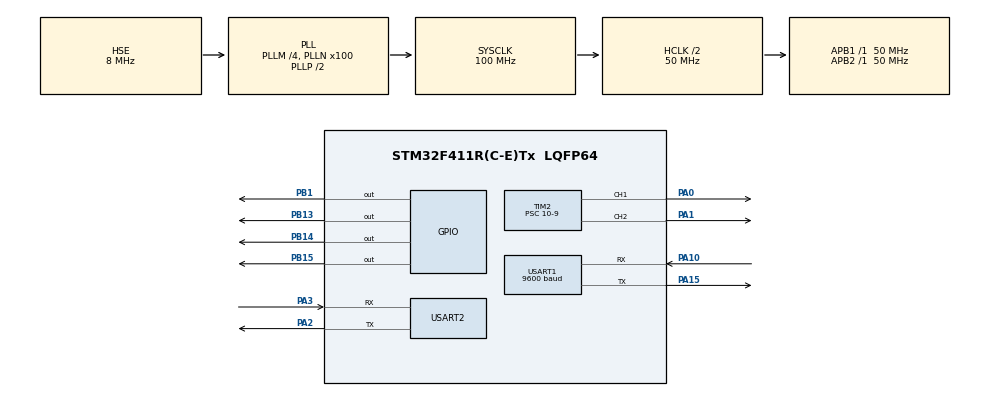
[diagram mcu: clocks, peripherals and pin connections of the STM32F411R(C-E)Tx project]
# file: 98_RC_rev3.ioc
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Mcu.Family=STM32F4
Mcu.Name=STM32F411R(C-E)Tx
Mcu.Package=LQFP64
NVIC.PriorityGroup=NVIC_PRIORITYGROUP_4
NVIC.RCC_IRQn=true\:0\:0\:false\:false\:true\:true\:false\:true
NVIC.TIM2_IRQn=true\:0\:0\:false\:false\:true\:true\:true\:true
NVIC.USART1_IRQn=true\:0\:0\:false\:false\:true\:true\:true\:true
NVIC.USART2_IRQn=true\:0\:0\:false\:false\:true\:true\:true\:true
PA0-WKUP.Signal=S_TIM2_CH1_ETR
PA1.Signal=S_TIM2_CH2
PA10.Mode=Asynchronous
PA10.Signal=USART1_RX
PA15.Mode=Asynchronous
PA15.Signal=USART1_TX
PA2.Mode=Asynchronous
PA2.Signal=USART2_TX
PA3.Mode=Asynchronous
PA3.Signal=USART2_RX
PB1.Signal=GPIO_Output
PB13.Signal=GPIO_Output
PB14.Signal=GPIO_Output
PB15.Signal=GPIO_Output
PH0\ -\ OSC_IN.Mode=HSE-External-Oscillator
PH0\ -\ OSC_IN.Signal=RCC_OSC_IN
PH1\ -\ OSC_OUT.Mode=HSE-External-Oscillator
PH1\ -\ OSC_OUT.Signal=RCC_OSC_OUT
ProjectManager.HeapSize=0x200
ProjectManager.StackSize=0x400
ProjectManager.TargetToolchain=STM32CubeIDE
RCC.48MHZClocksFreq_Value=50000000
RCC.AHBCLKDivider=RCC_SYSCLK_DIV2
RCC.AHBFreq_Value=50000000
RCC.APB1Freq_Value=50000000
RCC.APB1TimFreq_Value=50000000
RCC.APB2Freq_Value=50000000
RCC.APB2TimFreq_Value=50000000
RCC.CortexFreq_Value=50000000
RCC.HCLKFreq_Value=50000000
RCC.HSE_VALUE=8000000
RCC.HSI_VALUE=16000000
RCC.LSE_VALUE=32768
RCC.PLLM=4
RCC.PLLN=100
RCC.PLLSourceVirtual=RCC_PLLSOURCE_HSE
RCC.SYSCLKFreq_VALUE=100000000
RCC.SYSCLKSource=RCC_SYSCLKSOURCE_PLLCLK
RCC.VCOOutputFreq_Value=200000000
SH.S_TIM2_CH1_ETR.0=TIM2_CH1,PWM Generation1 CH1
SH.S_TIM2_CH2.0=TIM2_CH2,PWM Generation2 CH2
TIM2.Channel-PWM\ Generation1\ CH1=TIM_CHANNEL_1
TIM2.Channel-PWM\ Generation2\ CH2=TIM_CHANNEL_2
TIM2.Period=1000-9
TIM2.Prescaler=10-9
USART1.BaudRate=9600
USART1.VirtualMode=VM_ASYNC
USART2.VirtualMode=VM_ASYNC
board=custom

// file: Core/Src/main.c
/* USER CODE BEGIN Header */
/**
  ******************************************************************************
  * @file           : main.c
  * @brief          : Main program body
  ******************************************************************************
  * @attention
  *
  * Copyright (c) 2025 STMicroelectronics.
  * All rights reserved.
  *
  * This software is licensed under terms that can be found in the LICENSE file
  * in the root directory of this software component.
  * If no LICENSE file comes with this software, it is provided AS-IS.
  *
  ******************************************************************************
  */
/* USER CODE END Header */
#include "main.h"
#include "tim.h"
#include "usart.h"
#include "gpio.h"

/* USER CODE BEGIN Includes */

#include "string.h"
#include "ap.h"

/* USER CODE END Includes */

/* USER CODE BEGIN PV */

uint8_t rxData1;
uint8_t rxData2;
volatile uint8_t g_cmd = 0;

/* USER CODE END PV */

void SystemClock_Config(void);
/* USER CODE BEGIN PFP */

void HAL_UART_RxCpltCallback(UART_HandleTypeDef *huart)
{
  if(huart->Instance == USART1)
    {
	  g_cmd = rxData1;   // 명령 기록
      HAL_UART_Transmit(&huart2, &rxData1, sizeof(rxData1), 100);
      HAL_UART_Receive_IT(&huart1, &rxData1, sizeof(rxData1));
    }

  if(huart->Instance == USART2)
    {
	  g_cmd = rxData2;   // 명령 기록
      HAL_UART_Transmit(&huart1, &rxData2, sizeof(rxData2), 100);
      HAL_UART_Receive_IT(&huart2, &rxData2, sizeof(rxData2));
    }
}

/* USER CODE END PFP */

int main(void)
{

  /* MCU Configuration--------------------------------------------------------*/

  /* Reset of all peripherals, Initializes the Flash interface and the Systick. */
  HAL_Init();

  /* Configure the system clock */
  SystemClock_Config();

  /* USER CODE BEGIN SysInit */

//  void APInit();

  /* USER CODE END SysInit */

  /* Initialize all configured peripherals */
  MX_GPIO_Init();
  MX_USART1_UART_Init();
  MX_USART2_UART_Init();
  MX_TIM2_Init();
  /* USER CODE BEGIN 2 */

  HAL_UART_Receive_IT(&huart1, &rxData1, sizeof(rxData1));
  HAL_UART_Receive_IT(&huart2, &rxData2, sizeof(rxData2));

  const char *initMsg1 = "Uart1 initiated\r\n";
  const char *initMsg2 = "Uart2 initiated\r\n";

  HAL_UART_Transmit(&huart1,
                    (uint8_t*)initMsg1,
                    strlen(initMsg1),
                    HAL_MAX_DELAY);

  HAL_UART_Transmit(&huart2,
                    (uint8_t*)initMsg2,
                    strlen(initMsg2),
                    HAL_MAX_DELAY);
  APInit();

  /* USER CODE END 2 */

  /* Infinite loop */
  /* USER CODE BEGIN WHILE */
  while (1)
  {
	  APMain();

    /* USER CODE END WHILE */

  }
}

void SystemClock_Config(void)
{
  RCC_OscInitTypeDef RCC_OscInitStruct = {0};
  RCC_ClkInitTypeDef RCC_ClkInitStruct = {0};

  /** Configure the main internal regulator output voltage
  */
  __HAL_RCC_PWR_CLK_ENABLE();
  __HAL_PWR_VOLTAGESCALING_CONFIG(PWR_REGULATOR_VOLTAGE_SCALE1);

  /** Initializes the RCC Oscillators according to the specified parameters
  * in the RCC_OscInitTypeDef structure.
  */
  RCC_OscInitStruct.OscillatorType = RCC_OSCILLATORTYPE_HSE;
  RCC_OscInitStruct.HSEState = RCC_HSE_ON;
  RCC_OscInitStruct.PLL.PLLState = RCC_PLL_ON;
  RCC_OscInitStruct.PLL.PLLSource = RCC_PLLSOURCE_HSE;
  RCC_OscInitStruct.PLL.PLLM = 4;
  RCC_OscInitStruct.PLL.PLLN = 100;
  RCC_OscInitStruct.PLL.PLLP = RCC_PLLP_DIV2;
  RCC_OscInitStruct.PLL.PLLQ = 4;
  if (HAL_RCC_OscConfig(&RCC_OscInitStruct) != HAL_OK)
  {
    Error_Handler();
  }

  /** Initializes the CPU, AHB and APB buses clocks
  */
  RCC_ClkInitStruct.ClockType = RCC_CLOCKTYPE_HCLK|RCC_CLOCKTYPE_SYSCLK
                              |RCC_CLOCKTYPE_PCLK1|RCC_CLOCKTYPE_PCLK2;
  RCC_ClkInitStruct.SYSCLKSource = RCC_SYSCLKSOURCE_PLLCLK;
  RCC_ClkInitStruct.AHBCLKDivider = RCC_SYSCLK_DIV2;
  RCC_ClkInitStruct.APB1CLKDivider = RCC_HCLK_DIV1;
  RCC_ClkInitStruct.APB2CLKDivider = RCC_HCLK_DIV1;

  if (HAL_RCC_ClockConfig(&RCC_ClkInitStruct, FLASH_LATENCY_1) != HAL_OK)
  {
    Error_Handler();
  }
}

void Error_Handler(void)
{
  __disable_irq();
  while (1)
  {
  }
}
